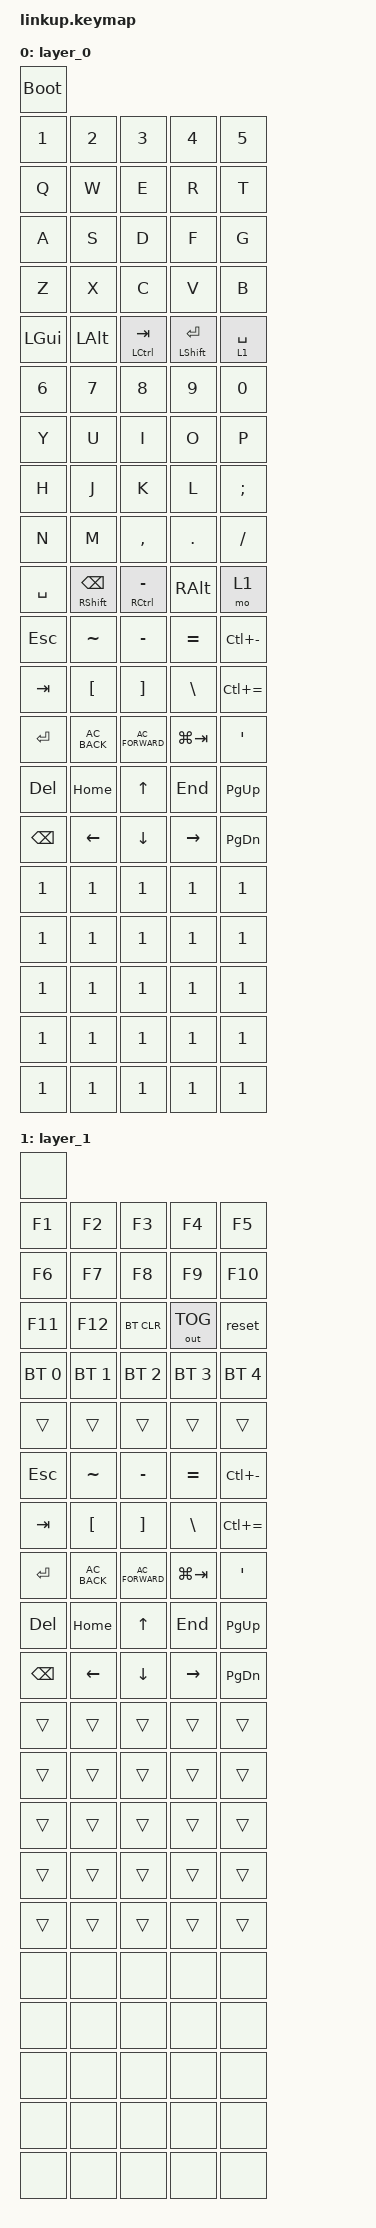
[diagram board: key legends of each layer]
/*
 * Copyright (c) 2020 The ZMK Contributors
 *
 * SPDX-License-Identifier: MIT
 */

#include <behaviors.dtsi>
#include <dt-bindings/zmk/keys.h>
#include <dt-bindings/zmk/bt.h>
#include <dt-bindings/zmk/outputs.h>


/ {
	keymap {
		compatible = "zmk,keymap";
		layer_0 {
			bindings = <
&bootloader

&kp N1    &kp N2    &kp N3    &kp N4    &kp N5  
&kp Q     &kp W     &kp E     &kp R     &kp T   
&kp A     &kp S     &kp D     &kp F     &kp G   
&kp Z     &kp X     &kp C     &kp V     &kp B   
&kp LGUI  &kp LALT  &mt LCTRL TAB  &mt LSHFT RET  &lt 1 SPACE 

&kp N6    &kp N7    &kp N8    &kp N9    &kp N0   
&kp Y     &kp U     &kp I     &kp O     &kp P    
&kp H     &kp J     &kp K     &kp L     &kp SCLN 
&kp N     &kp M     &kp COMMA &kp DOT   &kp FSLH 
&kp SPACE &mt RSHFT BSPC  &mt RCTRL MINUS &kp RALT  &mo 1   

&kp ESC        &kp TILDE      &kp MINUS        &kp EQUAL      &kp LC(MINUS) 
&kp TAB        &kp LBKT       &kp RBKT         &kp BSLH       &kp LC(EQUAL)
&kp RET        &kp C_AC_BACK  &kp C_AC_FORWARD &kp LG(TAB)    &kp SQT   
&kp DEL        &kp HOME       &kp UP           &kp END        &kp PG_UP   
&kp BSPC       &kp LEFT       &kp DOWN         &kp RIGHT      &kp PG_DN

&kp N1     &kp N1     &kp N1      &kp N1     &kp N1 
&kp N1     &kp N1     &kp N1      &kp N1     &kp N1 
&kp N1     &kp N1     &kp N1      &kp N1     &kp N1 
&kp N1     &kp N1     &kp N1      &kp N1     &kp N1 
&kp N1     &kp N1     &kp N1      &kp N1     &kp N1 
			>;
		};
		layer_1 {
			bindings = <
&none

&kp F1    &kp F2    &kp F3     &kp F4    &kp F5
&kp F6    &kp F7    &kp F8     &kp F9    &kp F10
&kp F11   &kp F12   &bt BT_CLR &out OUT_TOG &reset
&bt BT_SEL 0 &bt BT_SEL 1 &bt BT_SEL 2 &bt BT_SEL 3 &bt BT_SEL 4
&trans    &trans    &trans     &trans    &trans    

&kp ESC        &kp TILDE      &kp MINUS        &kp EQUAL      &kp LC(MINUS) 
&kp TAB        &kp LBKT       &kp RBKT         &kp BSLH       &kp LC(EQUAL)
&kp RET        &kp C_AC_BACK  &kp C_AC_FORWARD &kp LG(TAB)    &kp SQT   
&kp DEL        &kp HOME       &kp UP           &kp END        &kp PG_UP   
&kp BSPC       &kp LEFT       &kp DOWN         &kp RIGHT      &kp PG_DN

&trans    &trans    &trans     &trans    &trans
&trans    &trans    &trans     &trans    &trans
&trans    &trans    &trans     &trans    &trans
&trans    &trans    &trans     &trans    &trans
&trans    &trans    &trans     &trans    &trans

&none     &none     &none      &none     &none 
&none     &none     &none      &none     &none 
&none     &none     &none      &none     &none 
&none     &none     &none      &none     &none 
&none     &none     &none      &none     &none 
            >;
		};
	};
};
